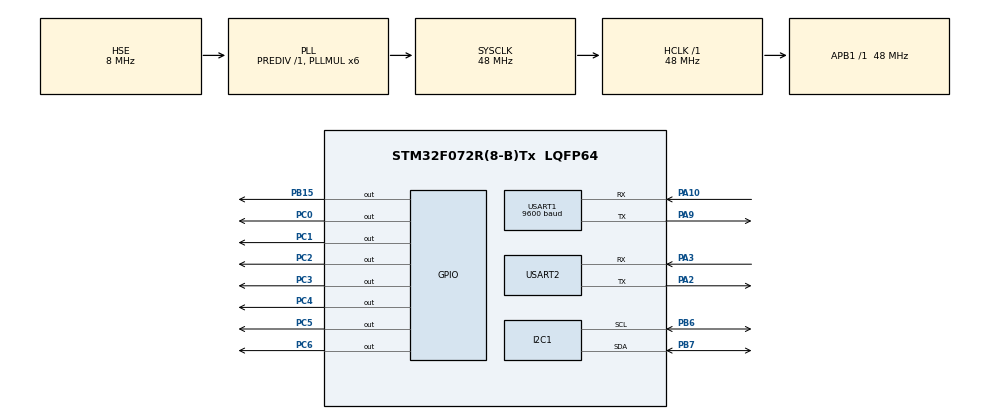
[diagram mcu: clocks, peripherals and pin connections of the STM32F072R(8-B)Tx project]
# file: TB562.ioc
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Dma.Request0=USART1_RX
Dma.Request1=USART1_TX
Dma.USART1_RX.0.Direction=DMA_PERIPH_TO_MEMORY
Dma.USART1_RX.0.Instance=DMA1_Channel5
Dma.USART1_RX.0.MemDataAlignment=DMA_MDATAALIGN_BYTE
Dma.USART1_RX.0.MemInc=DMA_MINC_ENABLE
Dma.USART1_RX.0.Mode=DMA_NORMAL
Dma.USART1_RX.0.PeriphDataAlignment=DMA_PDATAALIGN_BYTE
Dma.USART1_RX.0.PeriphInc=DMA_PINC_DISABLE
Dma.USART1_RX.0.Priority=DMA_PRIORITY_LOW
Dma.USART1_TX.1.Direction=DMA_MEMORY_TO_PERIPH
Dma.USART1_TX.1.Instance=DMA1_Channel4
Dma.USART1_TX.1.MemDataAlignment=DMA_MDATAALIGN_BYTE
Dma.USART1_TX.1.MemInc=DMA_MINC_ENABLE
Dma.USART1_TX.1.Mode=DMA_NORMAL
Dma.USART1_TX.1.PeriphDataAlignment=DMA_PDATAALIGN_BYTE
Dma.USART1_TX.1.PeriphInc=DMA_PINC_DISABLE
Dma.USART1_TX.1.Priority=DMA_PRIORITY_LOW
I2C1.Timing=0x20303E5D
Mcu.Family=STM32F0
Mcu.Name=STM32F072R(8-B)Tx
Mcu.Package=LQFP64
NVIC.DMA1_Channel4_5_6_7_IRQn=true\:0\:0\:false\:false\:true\:false
NVIC.TIM3_IRQn=true\:0\:0\:true\:false\:true\:true
NVIC.USART1_IRQn=true\:1\:0\:true\:true\:true\:1\:true
PA10.Mode=Asynchronous
PA10.Signal=USART1_RX
PA13.Mode=Serial_Wire
PA13.Signal=SYS_SWDIO
PA14.Mode=Serial_Wire
PA14.Signal=SYS_SWCLK
PA2.Mode=Asynchronous
PA2.Signal=USART2_TX
PA3.Mode=Asynchronous
PA3.Signal=USART2_RX
PA9.Mode=Asynchronous
PA9.Signal=USART1_TX
PB15.Signal=GPIO_Output
PB6.Mode=I2C
PB6.Signal=I2C1_SCL
PB7.Mode=I2C
PB7.Signal=I2C1_SDA
PC0.Signal=GPIO_Output
PC1.Signal=GPIO_Output
PC2.Signal=GPIO_Output
PC3.Signal=GPIO_Output
PC4.Signal=GPIO_Output
PC5.Signal=GPIO_Output
PC6.Signal=GPIO_Output
PF0-OSC_IN.Mode=HSE-External-Oscillator
PF0-OSC_IN.Signal=RCC_OSC_IN
PF1-OSC_OUT.Mode=HSE-External-Oscillator
PF1-OSC_OUT.Signal=RCC_OSC_OUT
ProjectManager.HeapSize=0x200
ProjectManager.StackSize=0x400
ProjectManager.TargetToolchain=MDK-ARM V5
RCC.AHBFreq_Value=48000000
RCC.APB1Freq_Value=48000000
RCC.APB1TimFreq_Value=48000000
RCC.HCLKFreq_Value=48000000
RCC.I2c1ClockSelection=RCC_I2C1CLKSOURCE_SYSCLK
RCC.PLLMUL=RCC_PLL_MUL6
RCC.PLLSourceVirtual=RCC_PLLSOURCE_HSE
RCC.SYSCLKFreq_VALUE=48000000
RCC.SYSCLKSource=RCC_SYSCLKSOURCE_PLLCLK
TIM3.Period=47999
TIM3.Prescaler=999
USART1.BaudRate=9600
USART1.VirtualMode-Asynchronous=VM_ASYNC
USART1.WordLength=WORDLENGTH_8B
USART2.VirtualMode-Asynchronous=VM_ASYNC
VP_TIM3_VS_ClockSourceINT.Mode=Internal
board=TB562

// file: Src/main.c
/**
  ******************************************************************************
  * @file           : main.c
  * @brief          : Main program body
  ******************************************************************************
  ** This notice applies to any and all portions of this file
  * that are not between comment pairs USER CODE BEGIN and
  * USER CODE END. Other portions of this file, whether
  * inserted by the user or by software development tools
  * are owned by their respective copyright owners.
  *
  * COPYRIGHT(c) 2018 STMicroelectronics
  *
  * Redistribution and use in source and binary forms, with or without modification,
  * are permitted provided that the following conditions are met:
  *   1. Redistributions of source code must retain the above copyright notice,
  *      this list of conditions and the following disclaimer.
  *   2. Redistributions in binary form must reproduce the above copyright notice,
  *      this list of conditions and the following disclaimer in the documentation
  *      and/or other materials provided with the distribution.
  *   3. Neither the name of STMicroelectronics nor the names of its contributors
  *      may be used to endorse or promote products derived from this software
  *      without specific prior written permission.
  *
  * THIS SOFTWARE IS PROVIDED BY THE COPYRIGHT HOLDERS AND CONTRIBUTORS "AS IS"
  * AND ANY EXPRESS OR IMPLIED WARRANTIES, INCLUDING, BUT NOT LIMITED TO, THE
  * IMPLIED WARRANTIES OF MERCHANTABILITY AND FITNESS FOR A PARTICULAR PURPOSE ARE
  * DISCLAIMED. IN NO EVENT SHALL THE COPYRIGHT HOLDER OR CONTRIBUTORS BE LIABLE
  * FOR ANY DIRECT, INDIRECT, INCIDENTAL, SPECIAL, EXEMPLARY, OR CONSEQUENTIAL
  * DAMAGES (INCLUDING, BUT NOT LIMITED TO, PROCUREMENT OF SUBSTITUTE GOODS OR
  * SERVICES; LOSS OF USE, DATA, OR PROFITS; OR BUSINESS INTERRUPTION) HOWEVER
  * CAUSED AND ON ANY THEORY OF LIABILITY, WHETHER IN CONTRACT, STRICT LIABILITY,
  * OR TORT (INCLUDING NEGLIGENCE OR OTHERWISE) ARISING IN ANY WAY OUT OF THE USE
  * OF THIS SOFTWARE, EVEN IF ADVISED OF THE POSSIBILITY OF SUCH DAMAGE.
  *
  ******************************************************************************
  */
#include "main.h"
#include "stm32f0xx_hal.h"

/* USER CODE BEGIN Includes */
#include "usart.h"
#include "queen.h"
#include "gpio.h"
#include "frequency.h"
/* USER CODE END Includes */

I2C_HandleTypeDef hi2c1;

TIM_HandleTypeDef htim3;

UART_HandleTypeDef huart1;
UART_HandleTypeDef huart2;
DMA_HandleTypeDef hdma_usart1_rx;
DMA_HandleTypeDef hdma_usart1_tx;

/* USER CODE BEGIN PV */
/* Private variables ---------------------------------------------------------*/

//uint8_t aTxBuffer[] = "\r\n**UA RT_TwoBoards communication based on DMA**\r\n";
//uint8_t aRxBuffer[30];

#define BufferSize 0x100
uint8_t WriteBuffer[BufferSize],ReadBuffer[BufferSize];
uint16_t i;

uint16_t fre_control1=1;
uint16_t fre_control2=1;
uint16_t fre_control3=1;
uint16_t fre_control4=1;
uint16_t fre_control5=1;
uint16_t fre_control6=1;
char time_flag1=0;		//频率通道1标志位
int i1=0;
char time_flag2=0;
int i2=0;
char time_flag3=0;
int i3=0;
char time_flag4=0;
int i4=0;
char time_flag5=0;
int i5=0;
char time_flag6=0;
int i6=0;

char tim_no=0;			//开始信号频率控制标志
/* USER CODE END PV */

void SystemClock_Config(void);
static void MX_GPIO_Init(void);
static void MX_DMA_Init(void);
static void MX_USART1_UART_Init(void);
static void MX_USART2_UART_Init(void);
static void MX_I2C1_Init(void);
static void MX_NVIC_Init(void);

void MX_TIM3_Init(void);

/* USER CODE BEGIN PFP */
/* Private function prototypes -----------------------------------------------*/

/* USER CODE END PFP */

int main(void)
{
  /* USER CODE BEGIN 1 */
   uint8_t val;
  /* USER CODE END 1 */

  /* MCU Configuration----------------------------------------------------------*/

  /* Reset of all peripherals, Initializes the Flash interface and the Systick. */
  HAL_Init();

  /* Configure the system clock */
  SystemClock_Config();

  /* Initialize all configured peripherals */
  MX_GPIO_Init();
  MX_DMA_Init();
  MX_USART1_UART_Init();
  MX_USART2_UART_Init();
  MX_I2C1_Init();
  MX_TIM3_Init();

	HAL_TIM_Base_Start_IT(&htim3);//启动定时器
  /* Initialize interrupts */
  MX_NVIC_Init();
  /* USER CODE BEGIN 2 */
	InitCircleQueue(&RxUart1_Queue);	                           //初始化队列*/
	__HAL_UART_ENABLE_IT(&huart1, UART_IT_IDLE);//使能串口1 IDLE中断
	HAL_UART_Receive_DMA(&huart1,(uint8_t*)ReceiveBuff,255);//开启串口DMA接收中断
	HAL_GPIO_WritePin(GPIOB, GPIO_PIN_15, GPIO_PIN_RESET);
	val = 180;
	HAL_I2C_Mem_Write(&hi2c1, ad5141_1_write_address, 0x10, I2C_MEMADD_SIZE_8BIT, &val, 1, 0x10);
	HAL_Delay(5);
	HAL_I2C_Mem_Write(&hi2c1, ad5141_2_write_address, 0x10, I2C_MEMADD_SIZE_8BIT, &val, 1, 0x10);
	HAL_Delay(5);
	HAL_I2C_Mem_Write(&hi2c1, ad5141_3_write_address, 0x10, I2C_MEMADD_SIZE_8BIT, &val, 1, 0x10);
	HAL_Delay(5);
	HAL_I2C_Mem_Write(&hi2c1, ad5141_4_write_address, 0x10, I2C_MEMADD_SIZE_8BIT, &val, 1, 0x10);
	HAL_Delay(5);
	HAL_I2C_Mem_Write(&hi2c1, ad5141_5_write_address, 0x10, I2C_MEMADD_SIZE_8BIT, &val, 1, 0x10);
	HAL_Delay(5);
	HAL_I2C_Mem_Write(&hi2c1, ad5141_6_write_address, 0x10, I2C_MEMADD_SIZE_8BIT, &val, 1, 0x10);

//	HAL_GPIO_WritePin(GPIOC, GPIO_PIN_0, GPIO_PIN_RESET);	//ltc1624使能
//	HAL_GPIO_WritePin(GPIOC, GPIO_PIN_1, GPIO_PIN_RESET);
//	HAL_GPIO_WritePin(GPIOC, GPIO_PIN_2, GPIO_PIN_RESET);
//	HAL_GPIO_WritePin(GPIOC, GPIO_PIN_3, GPIO_PIN_RESET);
//	HAL_GPIO_WritePin(GPIOC, GPIO_PIN_4, GPIO_PIN_RESET);
//	HAL_GPIO_WritePin(GPIOC, GPIO_PIN_5, GPIO_PIN_RESET);

  /* USER CODE END 2 */

  /* Infinite loop */
  while (1)
  {

  /* USER CODE BEGIN 3 */

  	UartData_process();                    //串口接收数据处理
		Gpio_PowerControl();                   //GPIO电源控制

  }
  /* USER CODE END 3 */

}

void SystemClock_Config(void)
{

  RCC_OscInitTypeDef RCC_OscInitStruct;
  RCC_ClkInitTypeDef RCC_ClkInitStruct;
  RCC_PeriphCLKInitTypeDef PeriphClkInit;

    /**Initializes the CPU, AHB and APB busses clocks
    */
  RCC_OscInitStruct.OscillatorType = RCC_OSCILLATORTYPE_HSE;
  RCC_OscInitStruct.HSEState = RCC_HSE_ON;
  RCC_OscInitStruct.PLL.PLLState = RCC_PLL_ON;
  RCC_OscInitStruct.PLL.PLLSource = RCC_PLLSOURCE_HSE;
  RCC_OscInitStruct.PLL.PLLMUL = RCC_PLL_MUL6;
  RCC_OscInitStruct.PLL.PREDIV = RCC_PREDIV_DIV1;
  if (HAL_RCC_OscConfig(&RCC_OscInitStruct) != HAL_OK)
  {
    _Error_Handler(__FILE__, __LINE__);
  }

    /**Initializes the CPU, AHB and APB busses clocks
    */
  RCC_ClkInitStruct.ClockType = RCC_CLOCKTYPE_HCLK|RCC_CLOCKTYPE_SYSCLK
                              |RCC_CLOCKTYPE_PCLK1;
  RCC_ClkInitStruct.SYSCLKSource = RCC_SYSCLKSOURCE_PLLCLK;
  RCC_ClkInitStruct.AHBCLKDivider = RCC_SYSCLK_DIV1;
  RCC_ClkInitStruct.APB1CLKDivider = RCC_HCLK_DIV1;

  if (HAL_RCC_ClockConfig(&RCC_ClkInitStruct, FLASH_LATENCY_1) != HAL_OK)
  {
    _Error_Handler(__FILE__, __LINE__);
  }

  PeriphClkInit.PeriphClockSelection = RCC_PERIPHCLK_USART1|RCC_PERIPHCLK_USART2
                              |RCC_PERIPHCLK_I2C1;
  PeriphClkInit.Usart1ClockSelection = RCC_USART1CLKSOURCE_PCLK1;
  PeriphClkInit.Usart2ClockSelection = RCC_USART2CLKSOURCE_PCLK1;
  PeriphClkInit.I2c1ClockSelection = RCC_I2C1CLKSOURCE_SYSCLK;
  if (HAL_RCCEx_PeriphCLKConfig(&PeriphClkInit) != HAL_OK)
  {
    _Error_Handler(__FILE__, __LINE__);
  }

    /**Configure the Systick interrupt time
    */
  HAL_SYSTICK_Config(HAL_RCC_GetHCLKFreq()/1000);

    /**Configure the Systick
    */
  HAL_SYSTICK_CLKSourceConfig(SYSTICK_CLKSOURCE_HCLK);

  /* SysTick_IRQn interrupt configuration */
  HAL_NVIC_SetPriority(SysTick_IRQn, 0, 0);
}

/**
  * @brief NVIC Configuration.
  * @retval None
  */
static void MX_NVIC_Init(void)
{
  /* USART1_IRQn interrupt configuration */
  HAL_NVIC_SetPriority(USART1_IRQn, 1, 0);
  HAL_NVIC_EnableIRQ(USART1_IRQn);
}

/* I2C1 init function */
static void MX_I2C1_Init(void)
{

  hi2c1.Instance = I2C1;
  hi2c1.Init.Timing = 0x20303E5D;
  hi2c1.Init.OwnAddress1 = 0;
  hi2c1.Init.AddressingMode = I2C_ADDRESSINGMODE_7BIT;
  hi2c1.Init.DualAddressMode = I2C_DUALADDRESS_DISABLE;
  hi2c1.Init.OwnAddress2 = 0;
  hi2c1.Init.OwnAddress2Masks = I2C_OA2_NOMASK;
  hi2c1.Init.GeneralCallMode = I2C_GENERALCALL_DISABLE;
  hi2c1.Init.NoStretchMode = I2C_NOSTRETCH_DISABLE;
  if (HAL_I2C_Init(&hi2c1) != HAL_OK)
  {
    _Error_Handler(__FILE__, __LINE__);
  }

    /**Configure Analogue filter
    */
  if (HAL_I2CEx_ConfigAnalogFilter(&hi2c1, I2C_ANALOGFILTER_ENABLE) != HAL_OK)
  {
    _Error_Handler(__FILE__, __LINE__);
  }

    /**Configure Digital filter
    */
  if (HAL_I2CEx_ConfigDigitalFilter(&hi2c1, 0) != HAL_OK)
  {
    _Error_Handler(__FILE__, __LINE__);
  }

}

/* TIM3 init function */
 void MX_TIM3_Init(void )
{

  TIM_ClockConfigTypeDef sClockSourceConfig;
  TIM_MasterConfigTypeDef sMasterConfig;

  htim3.Instance = TIM3;

	htim3.Init.Prescaler =50-1;//定时0.05ms=50us
  htim3.Init.CounterMode = TIM_COUNTERMODE_UP;
  htim3.Init.Period = 47;

//	htim3.Init.Prescaler =250-1;//定时0.25ms
//  htim3.Init.CounterMode = TIM_COUNTERMODE_UP;
//  htim3.Init.Period = 47;

  htim3.Init.ClockDivision = TIM_CLOCKDIVISION_DIV1;
  htim3.Init.AutoReloadPreload = TIM_AUTORELOAD_PRELOAD_ENABLE;
  if (HAL_TIM_Base_Init(&htim3) != HAL_OK)
  {
    _Error_Handler(__FILE__, __LINE__);
  }

  sClockSourceConfig.ClockSource = TIM_CLOCKSOURCE_INTERNAL;
  if (HAL_TIM_ConfigClockSource(&htim3, &sClockSourceConfig) != HAL_OK)
  {
    _Error_Handler(__FILE__, __LINE__);
  }

  sMasterConfig.MasterOutputTrigger = TIM_TRGO_RESET;
  sMasterConfig.MasterSlaveMode = TIM_MASTERSLAVEMODE_DISABLE;
  if (HAL_TIMEx_MasterConfigSynchronization(&htim3, &sMasterConfig) != HAL_OK)
  {
    _Error_Handler(__FILE__, __LINE__);
  }

}

/* USART1 init function */
static void MX_USART1_UART_Init(void)
{

  huart1.Instance = USART1;
  huart1.Init.BaudRate = 9600;
  huart1.Init.WordLength = UART_WORDLENGTH_8B;
  huart1.Init.StopBits = UART_STOPBITS_1;
  huart1.Init.Parity = UART_PARITY_NONE;
  huart1.Init.Mode = UART_MODE_TX_RX;
  huart1.Init.HwFlowCtl = UART_HWCONTROL_NONE;
  huart1.Init.OverSampling = UART_OVERSAMPLING_16;
  huart1.Init.OneBitSampling = UART_ONE_BIT_SAMPLE_DISABLE;
  huart1.AdvancedInit.AdvFeatureInit = UART_ADVFEATURE_NO_INIT;
  if (HAL_UART_Init(&huart1) != HAL_OK)
  {
    _Error_Handler(__FILE__, __LINE__);
  }

}

/* USART2 init function */
static void MX_USART2_UART_Init(void)
{

  huart2.Instance = USART2;
  huart2.Init.BaudRate = 38400;
  huart2.Init.WordLength = UART_WORDLENGTH_8B;
  huart2.Init.StopBits = UART_STOPBITS_1;
  huart2.Init.Parity = UART_PARITY_NONE;
  huart2.Init.Mode = UART_MODE_TX_RX;
  huart2.Init.HwFlowCtl = UART_HWCONTROL_NONE;
  huart2.Init.OverSampling = UART_OVERSAMPLING_16;
  huart2.Init.OneBitSampling = UART_ONE_BIT_SAMPLE_DISABLE;
  huart2.AdvancedInit.AdvFeatureInit = UART_ADVFEATURE_NO_INIT;
  if (HAL_UART_Init(&huart2) != HAL_OK)
  {
    _Error_Handler(__FILE__, __LINE__);
  }

}

static void MX_DMA_Init(void)
{
  /* DMA controller clock enable */
  __HAL_RCC_DMA1_CLK_ENABLE();

  /* DMA interrupt init */
  /* DMA1_Channel4_5_6_7_IRQn interrupt configuration */
  HAL_NVIC_SetPriority(DMA1_Channel4_5_6_7_IRQn, 0, 0);
  HAL_NVIC_EnableIRQ(DMA1_Channel4_5_6_7_IRQn);

}

/** Configure pins as
        * Analog
        * Input
        * Output
        * EVENT_OUT
        * EXTI
*/
static void MX_GPIO_Init(void)
{

  GPIO_InitTypeDef GPIO_InitStruct;

  /* GPIO Ports Clock Enable */
  __HAL_RCC_GPIOF_CLK_ENABLE();
  __HAL_RCC_GPIOC_CLK_ENABLE();
  __HAL_RCC_GPIOA_CLK_ENABLE();
  __HAL_RCC_GPIOB_CLK_ENABLE();

  /*Configure GPIO pin Output Level */
  HAL_GPIO_WritePin(GPIOC, GPIO_PIN_0|GPIO_PIN_1|GPIO_PIN_2|GPIO_PIN_3
                          |GPIO_PIN_4|GPIO_PIN_5|GPIO_PIN_6, GPIO_PIN_RESET);

  /*Configure GPIO pin Output Level */
  HAL_GPIO_WritePin(GPIOB, GPIO_PIN_15, GPIO_PIN_RESET);

  /*Configure GPIO pins : PC0 PC1 PC2 PC3
                           PC4 PC5 PC6 */
  GPIO_InitStruct.Pin = GPIO_PIN_0|GPIO_PIN_1|GPIO_PIN_2|GPIO_PIN_3
                          |GPIO_PIN_4|GPIO_PIN_5|GPIO_PIN_6;
  GPIO_InitStruct.Mode = GPIO_MODE_OUTPUT_PP;
  GPIO_InitStruct.Pull = GPIO_NOPULL;
  GPIO_InitStruct.Speed = GPIO_SPEED_FREQ_LOW;
  HAL_GPIO_Init(GPIOC, &GPIO_InitStruct);

  /*Configure GPIO pin : PB15 */
  GPIO_InitStruct.Pin = GPIO_PIN_15;
  GPIO_InitStruct.Mode = GPIO_MODE_OUTPUT_PP;
  GPIO_InitStruct.Pull = GPIO_NOPULL;
  GPIO_InitStruct.Speed = GPIO_SPEED_FREQ_LOW;
  HAL_GPIO_Init(GPIOB, &GPIO_InitStruct);

}

void _Error_Handler(char *file, int line)
{
  while(1)
  {
  }
}

/************************ (C) COPYRIGHT STMicroelectronics *****END OF FILE****/
